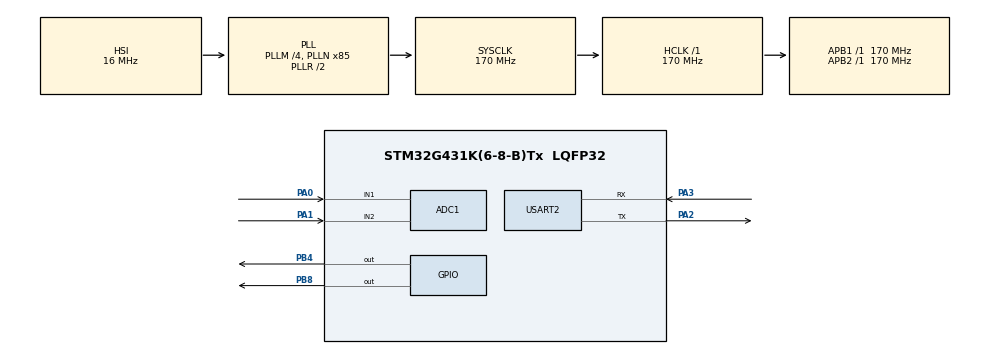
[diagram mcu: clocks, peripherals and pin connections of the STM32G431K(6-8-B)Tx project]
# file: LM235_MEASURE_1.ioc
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ADC1.Channel-4\#ChannelRegularConversion=ADC_CHANNEL_2
ADC1.Channel-5\#ChannelRegularConversion=ADC_CHANNEL_TEMPSENSOR_ADC1
ADC1.Channel-6\#ChannelRegularConversion=ADC_CHANNEL_VREFINT
ADC1.ClockPrescaler=ADC_CLOCK_ASYNC_DIV8
ADC1.ContinuousConvMode=ENABLE
ADC1.DMAContinuousRequests=ENABLE
ADC1.EOCSelection=ADC_EOC_SINGLE_CONV
ADC1.NbrOfConversion=4
ADC1.NbrOfConversionFlag=1
ADC1.OffsetNumber-4\#ChannelRegularConversion=ADC_OFFSET_NONE
ADC1.OffsetNumber-5\#ChannelRegularConversion=ADC_OFFSET_NONE
ADC1.OffsetNumber-6\#ChannelRegularConversion=ADC_OFFSET_NONE
ADC1.Overrun=ADC_OVR_DATA_OVERWRITTEN
ADC1.Rank-4\#ChannelRegularConversion=2
ADC1.Rank-5\#ChannelRegularConversion=3
ADC1.Rank-6\#ChannelRegularConversion=4
ADC1.SamplingTime-0\#ChannelRegularConversion=ADC_SAMPLETIME_640CYCLES_5
ADC1.SamplingTime-4\#ChannelRegularConversion=ADC_SAMPLETIME_640CYCLES_5
ADC1.SamplingTime-5\#ChannelRegularConversion=ADC_SAMPLETIME_640CYCLES_5
ADC1.SamplingTime-6\#ChannelRegularConversion=ADC_SAMPLETIME_640CYCLES_5
ADC1.master=1
Dma.ADC1.0.Direction=DMA_PERIPH_TO_MEMORY
Dma.ADC1.0.EventEnable=DISABLE
Dma.ADC1.0.Instance=DMA1_Channel1
Dma.ADC1.0.MemDataAlignment=DMA_MDATAALIGN_WORD
Dma.ADC1.0.MemInc=DMA_MINC_ENABLE
Dma.ADC1.0.Mode=DMA_CIRCULAR
Dma.ADC1.0.PeriphDataAlignment=DMA_PDATAALIGN_WORD
Dma.ADC1.0.PeriphInc=DMA_PINC_DISABLE
Dma.ADC1.0.Polarity=HAL_DMAMUX_REQ_GEN_RISING
Dma.ADC1.0.Priority=DMA_PRIORITY_LOW
Dma.ADC1.0.RequestNumber=1
Dma.ADC1.0.SignalID=NONE
Dma.ADC1.0.SyncEnable=DISABLE
Dma.ADC1.0.SyncPolarity=HAL_DMAMUX_SYNC_NO_EVENT
Dma.ADC1.0.SyncRequestNumber=1
Dma.ADC1.0.SyncSignalID=NONE
Dma.Request0=ADC1
Mcu.Family=STM32G4
Mcu.Name=STM32G431K(6-8-B)Tx
Mcu.Package=LQFP32
NVIC.ADC1_2_IRQn=true\:0\:0\:false\:false\:true\:true\:true
NVIC.DMA1_Channel1_IRQn=true\:0\:0\:false\:false\:true\:false\:true
NVIC.PriorityGroup=NVIC_PRIORITYGROUP_4
NVIC.TIM1_UP_TIM16_IRQn=true\:0\:0\:false\:false\:true\:true\:true
PA0.Mode=IN1-Single-Ended
PA0.Signal=ADC1_IN1
PA1.Mode=IN2-Single-Ended
PA1.Signal=ADC1_IN2
PA13.Mode=Serial_Wire
PA13.Signal=SYS_JTMS-SWDIO
PA14.Mode=Serial_Wire
PA14.Signal=SYS_JTCK-SWCLK
PA2.GPIO_ModeDefaultPP=GPIO_MODE_AF_PP
PA2.GPIO_PuPd=GPIO_NOPULL
PA2.GPIO_Speed=GPIO_SPEED_FREQ_LOW
PA2.Mode=Asynchronous
PA2.Signal=USART2_TX
PA3.GPIO_ModeDefaultPP=GPIO_MODE_AF_PP
PA3.GPIO_PuPd=GPIO_NOPULL
PA3.GPIO_Speed=GPIO_SPEED_FREQ_LOW
PA3.Mode=Asynchronous
PA3.Signal=USART2_RX
PB3.Signal=SYS_JTDO-SWO
PB4.Signal=GPIO_Output
PB8-BOOT0.GPIO_FM8=__NULL
PB8-BOOT0.GPIO_ModeDefaultOutputPP=GPIO_MODE_OUTPUT_PP
PB8-BOOT0.GPIO_PuPd=GPIO_NOPULL
PB8-BOOT0.GPIO_Speed=GPIO_SPEED_FREQ_LOW
PB8-BOOT0.PinState=GPIO_PIN_RESET
PB8-BOOT0.Signal=GPIO_Output
PF0-OSC_IN.Mode=HSE-External-Oscillator
PF0-OSC_IN.Signal=RCC_OSC_IN
PF1-OSC_OUT.Mode=HSE-External-Oscillator
PF1-OSC_OUT.Signal=RCC_OSC_OUT
ProjectManager.HeapSize=0x200
ProjectManager.StackSize=0x400
ProjectManager.TargetToolchain=STM32CubeIDE
RCC.ADC12Freq_Value=170000000
RCC.AHBFreq_Value=170000000
RCC.APB1Freq_Value=170000000
RCC.APB1TimFreq_Value=170000000
RCC.APB2Freq_Value=170000000
RCC.APB2TimFreq_Value=170000000
RCC.CortexFreq_Value=170000000
RCC.EXTERNAL_CLOCK_VALUE=12288000
RCC.HCLKFreq_Value=170000000
RCC.HSE_VALUE=24000000
RCC.HSI48_VALUE=48000000
RCC.HSI_VALUE=16000000
RCC.LSE_VALUE=32768
RCC.PLLM=RCC_PLLM_DIV4
RCC.PLLN=85
RCC.SYSCLKFreq_VALUE=170000000
RCC.SYSCLKSource=RCC_SYSCLKSOURCE_PLLCLK
RCC.USBFreq_Value=170000000
RCC.VCOOutputFreq_Value=340000000
TIM1.ClockDivision=TIM_CLOCKDIVISION_DIV1
TIM1.PeriodNoDither=8499
TIM1.Prescaler=9999
USART2.VirtualMode-Asynchronous=VM_ASYNC
USART2.WordLength=WORDLENGTH_8B
VP_ADC1_TempSens_Input.Mode=IN-TempSens
VP_ADC1_Vref_Input.Mode=IN-Vrefint
VP_SYS_VS_DBSignals.Mode=DisableDeadBatterySignals
VP_TIM1_VS_ClockSourceINT.Mode=Internal
board=NUCLEO-G431KB

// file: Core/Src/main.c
/* USER CODE BEGIN Header */
/**
  ******************************************************************************
  * @file           : main.c
  * @brief          : Firmware to read temperature sensors
<<<<<<< HEAD
  * @author			: Gabriel
=======
  * @author			:
<<<<<<< HEAD
  *
=======
>>>>>>> 6580ffa1efea7ccce58f070b74dbe3bfe29878a5
>>>>>>> 0523e541a5afc52a5b46154862685c1c004f9b95
  *
  ******************************************************************************
  * @attention
  *
  * <h2><center>&copy; Copyright (c) 2020 STMicroelectronics.
  * All rights reserved.</center></h2>
  *
  * This software component is licensed by ST under BSD 3-Clause license,
  * the "License"; You may not use this file except in compliance with the
  * License. You may obtain a copy of the License at:
  *                        opensource.org/licenses/BSD-3-Clause
  *
  ******************************************************************************
  */
/* USER CODE END Header */
#include "main.h"

ADC_HandleTypeDef hadc1;
DMA_HandleTypeDef hdma_adc1;

TIM_HandleTypeDef htim1;

UART_HandleTypeDef huart2;

void SystemClock_Config(void);
static void MX_GPIO_Init(void);
static void MX_DMA_Init(void);
static void MX_USART2_UART_Init(void);
static void MX_TIM1_Init(void);
static void MX_ADC1_Init(void);

/* USER CODE BEGIN 0 */
typedef struct{
	uint32_t ADC_raw;
	float voltages;
	float temp_kelv;
	float temp_celc;
}lm235;

uint8_t transmit_word[30] = {0};
uint16_t counter = 0;
uint16_t adc_raw = 0;
uint32_t measurements[4] = {0};

volatile float analog_calc = 0;
float voltages[4] = {0};
lm235 temp_sens[2] = {0};

#define ts_cal1 *((uint16_t*) 0x1FFF75A8)	// 1040
#define ts_cal2 *((uint16_t*) 0x1FFF75CA) 	// 1381

void HAL_TIM_PeriodElapsedCallback(TIM_HandleTypeDef *htim){
	//RUNS EVERY 1s
    HAL_GPIO_TogglePin(GPIOB, GPIO_PIN_8);		// BLINKS THE STANDARD BOARD LED
    HAL_GPIO_TogglePin(GPIOB, GPIO_PIN_4);		// BLINKS BREADBOARD LED

    //sprintf(transmit_word, "t1: [%3.1f]ºC - t2:[%3.1f]ºC \n", temp_sens[0].temp_celc, temp_sens[1].temp_celc);
    sprintf(transmit_word, "%3.1f %3.1f\n", temp_sens[0].temp_celc, temp_sens[1].temp_celc);
    HAL_UART_Transmit(&huart2, transmit_word, strlen(transmit_word), 1000);

}
/* USER CODE END 0 */

int main(void)
{

  /* MCU Configuration--------------------------------------------------------*/

  /* Reset of all peripherals, Initializes the Flash interface and the Systick. */
  HAL_Init();

  /* Configure the system clock */
  SystemClock_Config();

  /* Initialize all configured peripherals */
  MX_GPIO_Init();
  MX_DMA_Init();
  MX_USART2_UART_Init();
  MX_TIM1_Init();
  MX_ADC1_Init();
  /* USER CODE BEGIN 2 */
  HAL_TIM_Base_Start_IT(&htim1);

  if((ADC1->CR & ADC_CR_ADEN) != 0){		 	  // (1)
	  ADC1->CR &= (uint32_t)(~ADC_CR_ADEN);    	  // (2)
  }
      ADC1->CR |= ADC_CR_ADCAL;    				  // (3)

      while((ADC1->CR & ADC_CR_ADCAL) != 0)       // (4)
      {
          //checkBackgroundServices();
          // For robust implementation, add here time-out management
      }
      //uint8_t ADC_CalibrationFactor = (ADC1->DR);   	//& 0x7F);

  // measurements[0] -> ADC1_IN1 -> PA0
  // measurements[1] -> ADC1_IN2 -> PA1
  // measurements[2] -> TEMPERATURE SENSOR
  // measurements[3] -> VREFINT

  HAL_ADC_Start_DMA(&hadc1, measurements, 4);			// start adc in DMA mode

  /* USER CODE END 2 */

  /* Infinite loop */
  while (1)
  {

    /* USER CODE BEGIN 3 */
	int i;
	for(i = 0; i < 4; i++){
		voltages[i] = 3.300*(measurements[i]/4095.0);
	}
	for(i = 0; i < 2; i++){
		temp_sens[i].ADC_raw = measurements[i];
		temp_sens[i].voltages = 3.300*(temp_sens[i].ADC_raw/4095.0);
		temp_sens[i].temp_celc = (temp_sens[i].voltages/0.02)-45.9;
		temp_sens[i].temp_kelv = temp_sens[i].temp_celc + 273.15;
	}

	float internal_temp = ((110.0 - 30.0)/(float)(ts_cal2 - ts_cal1))*(measurements[2] - (float)ts_cal1) + 30;

  }
  /* USER CODE END 3 */
}

void SystemClock_Config(void)
{
  RCC_OscInitTypeDef RCC_OscInitStruct = {0};
  RCC_ClkInitTypeDef RCC_ClkInitStruct = {0};
  RCC_PeriphCLKInitTypeDef PeriphClkInit = {0};

  /** Configure the main internal regulator output voltage
  */
  HAL_PWREx_ControlVoltageScaling(PWR_REGULATOR_VOLTAGE_SCALE1_BOOST);
  /** Initializes the RCC Oscillators according to the specified parameters
  * in the RCC_OscInitTypeDef structure.
  */
  RCC_OscInitStruct.OscillatorType = RCC_OSCILLATORTYPE_HSI;
  RCC_OscInitStruct.HSIState = RCC_HSI_ON;
  RCC_OscInitStruct.HSICalibrationValue = RCC_HSICALIBRATION_DEFAULT;
  RCC_OscInitStruct.PLL.PLLState = RCC_PLL_ON;
  RCC_OscInitStruct.PLL.PLLSource = RCC_PLLSOURCE_HSI;
  RCC_OscInitStruct.PLL.PLLM = RCC_PLLM_DIV4;
  RCC_OscInitStruct.PLL.PLLN = 85;
  RCC_OscInitStruct.PLL.PLLP = RCC_PLLP_DIV2;
  RCC_OscInitStruct.PLL.PLLQ = RCC_PLLQ_DIV2;
  RCC_OscInitStruct.PLL.PLLR = RCC_PLLR_DIV2;
  if (HAL_RCC_OscConfig(&RCC_OscInitStruct) != HAL_OK)
  {
    Error_Handler();
  }
  /** Initializes the CPU, AHB and APB buses clocks
  */
  RCC_ClkInitStruct.ClockType = RCC_CLOCKTYPE_HCLK|RCC_CLOCKTYPE_SYSCLK
                              |RCC_CLOCKTYPE_PCLK1|RCC_CLOCKTYPE_PCLK2;
  RCC_ClkInitStruct.SYSCLKSource = RCC_SYSCLKSOURCE_PLLCLK;
  RCC_ClkInitStruct.AHBCLKDivider = RCC_SYSCLK_DIV1;
  RCC_ClkInitStruct.APB1CLKDivider = RCC_HCLK_DIV1;
  RCC_ClkInitStruct.APB2CLKDivider = RCC_HCLK_DIV1;

  if (HAL_RCC_ClockConfig(&RCC_ClkInitStruct, FLASH_LATENCY_4) != HAL_OK)
  {
    Error_Handler();
  }
  /** Initializes the peripherals clocks
  */
  PeriphClkInit.PeriphClockSelection = RCC_PERIPHCLK_USART2|RCC_PERIPHCLK_ADC12;
  PeriphClkInit.Usart2ClockSelection = RCC_USART2CLKSOURCE_PCLK1;
  PeriphClkInit.Adc12ClockSelection = RCC_ADC12CLKSOURCE_SYSCLK;
  if (HAL_RCCEx_PeriphCLKConfig(&PeriphClkInit) != HAL_OK)
  {
    Error_Handler();
  }
}

static void MX_ADC1_Init(void)
{

  ADC_MultiModeTypeDef multimode = {0};
  ADC_ChannelConfTypeDef sConfig = {0};

  /** Common config
  */
  hadc1.Instance = ADC1;
  hadc1.Init.ClockPrescaler = ADC_CLOCK_ASYNC_DIV8;
  hadc1.Init.Resolution = ADC_RESOLUTION_12B;
  hadc1.Init.DataAlign = ADC_DATAALIGN_RIGHT;
  hadc1.Init.GainCompensation = 0;
  hadc1.Init.ScanConvMode = ADC_SCAN_ENABLE;
  hadc1.Init.EOCSelection = ADC_EOC_SINGLE_CONV;
  hadc1.Init.LowPowerAutoWait = DISABLE;
  hadc1.Init.ContinuousConvMode = ENABLE;
  hadc1.Init.NbrOfConversion = 4;
  hadc1.Init.DiscontinuousConvMode = DISABLE;
  hadc1.Init.ExternalTrigConv = ADC_SOFTWARE_START;
  hadc1.Init.ExternalTrigConvEdge = ADC_EXTERNALTRIGCONVEDGE_NONE;
  hadc1.Init.DMAContinuousRequests = ENABLE;
  hadc1.Init.Overrun = ADC_OVR_DATA_OVERWRITTEN;
  hadc1.Init.OversamplingMode = DISABLE;
  if (HAL_ADC_Init(&hadc1) != HAL_OK)
  {
    Error_Handler();
  }
  /** Configure the ADC multi-mode
  */
  multimode.Mode = ADC_MODE_INDEPENDENT;
  if (HAL_ADCEx_MultiModeConfigChannel(&hadc1, &multimode) != HAL_OK)
  {
    Error_Handler();
  }
  /** Configure Regular Channel
  */
  sConfig.Channel = ADC_CHANNEL_2;
  sConfig.Rank = ADC_REGULAR_RANK_2;
  sConfig.SamplingTime = ADC_SAMPLETIME_640CYCLES_5;
  sConfig.SingleDiff = ADC_SINGLE_ENDED;
  sConfig.OffsetNumber = ADC_OFFSET_NONE;
  sConfig.Offset = 0;
  if (HAL_ADC_ConfigChannel(&hadc1, &sConfig) != HAL_OK)
  {
    Error_Handler();
  }
  /** Configure Regular Channel
  */
  sConfig.Channel = ADC_CHANNEL_TEMPSENSOR_ADC1;
  sConfig.Rank = ADC_REGULAR_RANK_3;
  if (HAL_ADC_ConfigChannel(&hadc1, &sConfig) != HAL_OK)
  {
    Error_Handler();
  }
  /** Configure Regular Channel
  */
  sConfig.Channel = ADC_CHANNEL_VREFINT;
  sConfig.Rank = ADC_REGULAR_RANK_4;
  if (HAL_ADC_ConfigChannel(&hadc1, &sConfig) != HAL_OK)
  {
    Error_Handler();
  }
  /** Configure Regular Channel
  */
  sConfig.Channel = ADC_CHANNEL_1;
  sConfig.Rank = ADC_REGULAR_RANK_1;
  if (HAL_ADC_ConfigChannel(&hadc1, &sConfig) != HAL_OK)
  {
    Error_Handler();
  }

}

static void MX_TIM1_Init(void)
{

  TIM_ClockConfigTypeDef sClockSourceConfig = {0};
  TIM_MasterConfigTypeDef sMasterConfig = {0};
  TIM_BreakDeadTimeConfigTypeDef sBreakDeadTimeConfig = {0};

  htim1.Instance = TIM1;
  htim1.Init.Prescaler = 9999;
  htim1.Init.CounterMode = TIM_COUNTERMODE_UP;
  htim1.Init.Period = 8499;
  htim1.Init.ClockDivision = TIM_CLOCKDIVISION_DIV1;
  htim1.Init.RepetitionCounter = 0;
  htim1.Init.AutoReloadPreload = TIM_AUTORELOAD_PRELOAD_DISABLE;
  if (HAL_TIM_Base_Init(&htim1) != HAL_OK)
  {
    Error_Handler();
  }
  sClockSourceConfig.ClockSource = TIM_CLOCKSOURCE_INTERNAL;
  if (HAL_TIM_ConfigClockSource(&htim1, &sClockSourceConfig) != HAL_OK)
  {
    Error_Handler();
  }
  sMasterConfig.MasterOutputTrigger = TIM_TRGO_RESET;
  sMasterConfig.MasterOutputTrigger2 = TIM_TRGO2_RESET;
  sMasterConfig.MasterSlaveMode = TIM_MASTERSLAVEMODE_DISABLE;
  if (HAL_TIMEx_MasterConfigSynchronization(&htim1, &sMasterConfig) != HAL_OK)
  {
    Error_Handler();
  }
  sBreakDeadTimeConfig.BreakAFMode = TIM_BREAK_AFMODE_INPUT;
  sBreakDeadTimeConfig.Break2AFMode = TIM_BREAK_AFMODE_INPUT;
  if (HAL_TIMEx_ConfigBreakDeadTime(&htim1, &sBreakDeadTimeConfig) != HAL_OK)
  {
    Error_Handler();
  }

}

static void MX_USART2_UART_Init(void)
{

  huart2.Instance = USART2;
  huart2.Init.BaudRate = 115200;
  huart2.Init.WordLength = UART_WORDLENGTH_8B;
  huart2.Init.StopBits = UART_STOPBITS_1;
  huart2.Init.Parity = UART_PARITY_NONE;
  huart2.Init.Mode = UART_MODE_TX_RX;
  huart2.Init.HwFlowCtl = UART_HWCONTROL_NONE;
  huart2.Init.OverSampling = UART_OVERSAMPLING_16;
  huart2.Init.OneBitSampling = UART_ONE_BIT_SAMPLE_DISABLE;
  huart2.Init.ClockPrescaler = UART_PRESCALER_DIV1;
  huart2.AdvancedInit.AdvFeatureInit = UART_ADVFEATURE_NO_INIT;
  if (HAL_UART_Init(&huart2) != HAL_OK)
  {
    Error_Handler();
  }
  if (HAL_UARTEx_SetTxFifoThreshold(&huart2, UART_TXFIFO_THRESHOLD_1_8) != HAL_OK)
  {
    Error_Handler();
  }
  if (HAL_UARTEx_SetRxFifoThreshold(&huart2, UART_RXFIFO_THRESHOLD_1_8) != HAL_OK)
  {
    Error_Handler();
  }
  if (HAL_UARTEx_DisableFifoMode(&huart2) != HAL_OK)
  {
    Error_Handler();
  }

}

static void MX_DMA_Init(void)
{

  /* DMA controller clock enable */
  __HAL_RCC_DMAMUX1_CLK_ENABLE();
  __HAL_RCC_DMA1_CLK_ENABLE();

  /* DMA interrupt init */
  /* DMA1_Channel1_IRQn interrupt configuration */
  HAL_NVIC_SetPriority(DMA1_Channel1_IRQn, 0, 0);
  HAL_NVIC_EnableIRQ(DMA1_Channel1_IRQn);

}

static void MX_GPIO_Init(void)
{
  GPIO_InitTypeDef GPIO_InitStruct = {0};

  /* GPIO Ports Clock Enable */
  __HAL_RCC_GPIOF_CLK_ENABLE();
  __HAL_RCC_GPIOA_CLK_ENABLE();
  __HAL_RCC_GPIOB_CLK_ENABLE();

  /*Configure GPIO pin Output Level */
  HAL_GPIO_WritePin(GPIOB, GPIO_PIN_4|GPIO_PIN_8, GPIO_PIN_RESET);

  /*Configure GPIO pins : PB4 PB8 */
  GPIO_InitStruct.Pin = GPIO_PIN_4|GPIO_PIN_8;
  GPIO_InitStruct.Mode = GPIO_MODE_OUTPUT_PP;
  GPIO_InitStruct.Pull = GPIO_NOPULL;
  GPIO_InitStruct.Speed = GPIO_SPEED_FREQ_LOW;
  HAL_GPIO_Init(GPIOB, &GPIO_InitStruct);

}

void Error_Handler(void)
{
}

/************************ (C) COPYRIGHT STMicroelectronics *****END OF FILE****/
